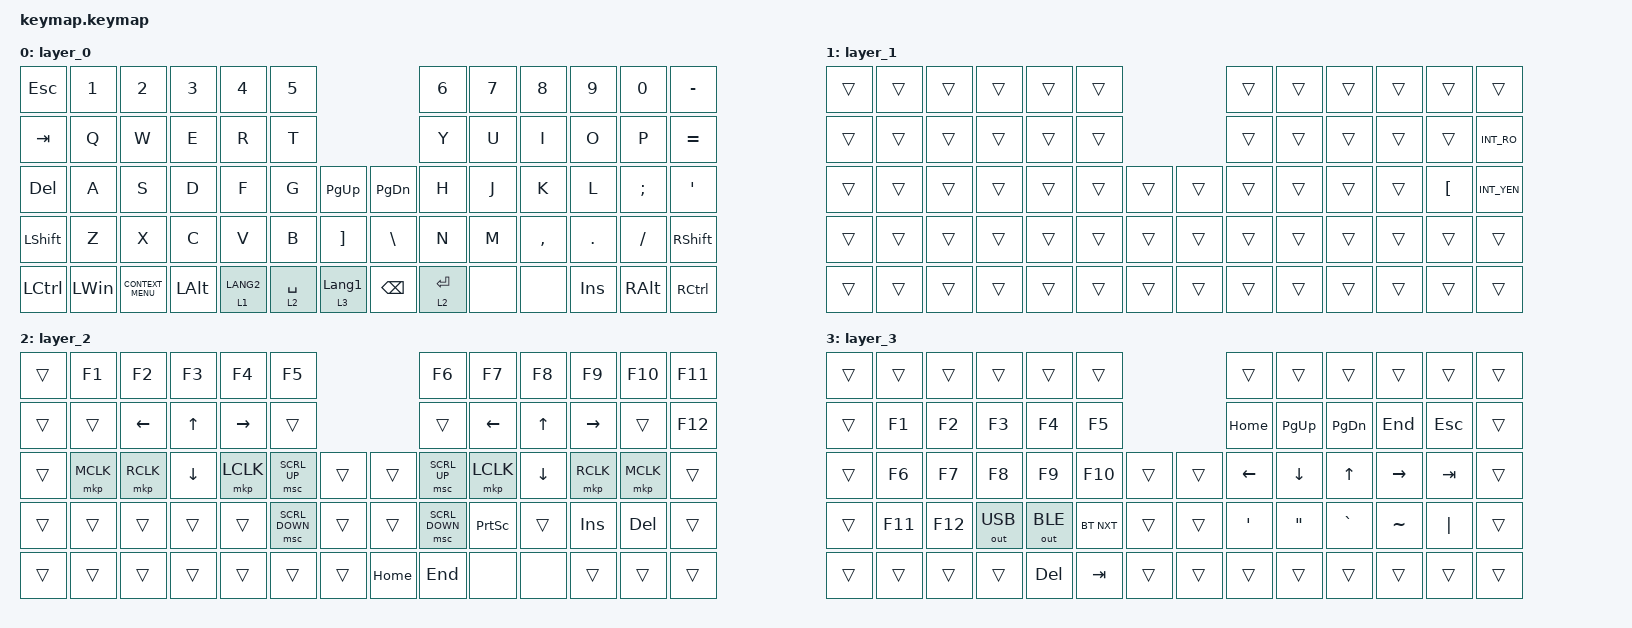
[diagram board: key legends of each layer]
#include <behaviors.dtsi>
#include <dt-bindings/zmk/bt.h>
#include <dt-bindings/zmk/keys.h>
#include <dt-bindings/zmk/outputs.h>

#define ZMK_POINTING_DEFAULT_SCRL_VAL 25
#include <dt-bindings/zmk/pointing.h>

/ {
    combos {
        compatible = "zmk,combos";

        bt_clear {
            bindings = <&bt BT_CLR>;
            key-positions = <28 29>;
            layers = <2>;
        };

        // 片手マウスクリック（標準レイヤーでのみ有効）
        // 通常入力での誤爆を防ぐため、判定時間を短くし直前のキー入力から一定時間空いた場合のみ発動
        // 右手: J=33, K=34, L=35
        mouse_lclk_right {
            bindings = <&mkp LCLK>;
            key-positions = <33 34>;
            timeout-ms = <40>;
            require-prior-idle-ms = <150>;
            layers = <0>;
        };

        mouse_mclk_right {
            bindings = <&mkp MCLK>;
            key-positions = <33 35>;
            timeout-ms = <40>;
            require-prior-idle-ms = <150>;
            layers = <0>;
        };

        mouse_rclk_right {
            bindings = <&mkp RCLK>;
            key-positions = <34 35>;
            timeout-ms = <40>;
            require-prior-idle-ms = <150>;
            layers = <0>;
        };

        // 左手: S=26, D=27, F=28
        mouse_lclk_left {
            bindings = <&mkp LCLK>;
            key-positions = <27 28>;
            timeout-ms = <40>;
            require-prior-idle-ms = <150>;
            layers = <0>;
        };

        mouse_mclk_left {
            bindings = <&mkp MCLK>;
            key-positions = <26 28>;
            timeout-ms = <40>;
            require-prior-idle-ms = <150>;
            layers = <0>;
        };

        mouse_rclk_left {
            bindings = <&mkp RCLK>;
            key-positions = <26 27>;
            timeout-ms = <40>;
            require-prior-idle-ms = <150>;
            layers = <0>;
        };
    };

    keymap {
        compatible = "zmk,keymap";

        layer_0 {
            bindings = <
&kp ESC     &kp N1        &kp N2              &kp N3    &kp N4       &kp N5                                         &kp N6       &kp N7  &kp N8     &kp N9   &kp N0         &kp MINUS
&kp TAB     &kp Q         &kp W               &kp E     &kp R        &kp T                                          &kp Y        &kp U   &kp I      &kp O    &kp P          &kp EQUAL
&kp DELETE  &kp A         &kp S               &kp D     &kp F        &kp G        &kp PAGE_UP        &kp PAGE_DOWN  &kp H        &kp J   &kp K      &kp L    &kp SEMI       &kp SQT
&kp LSHFT   &kp Z         &kp X               &kp C     &kp V        &kp B        &kp RIGHT_BRACKET  &kp BACKSLASH  &kp N        &kp M   &kp COMMA  &kp DOT  &kp SLASH      &kp RSHFT
&kp LCTRL   &kp LEFT_WIN  &kp K_CONTEXT_MENU  &kp LALT  &lt 1 LANG2  &lt 2 SPACE  &lt 3 LANGUAGE_1   &kp BACKSPACE  &lt 2 ENTER  &none   &none      &kp INS  &kp RIGHT_ALT  &kp RCTRL
            >;
        };

        layer_1 {
            bindings = <
&trans  &trans  &trans  &trans  &trans  &trans                  &trans  &trans  &trans  &trans  &trans            &trans
&trans  &trans  &trans  &trans  &trans  &trans                  &trans  &trans  &trans  &trans  &trans            &kp INT_RO
&trans  &trans  &trans  &trans  &trans  &trans  &trans  &trans  &trans  &trans  &trans  &trans  &kp LEFT_BRACKET  &kp INT_YEN
&trans  &trans  &trans  &trans  &trans  &trans  &trans  &trans  &trans  &trans  &trans  &trans  &trans            &trans
&trans  &trans  &trans  &trans  &trans  &trans  &trans  &trans  &trans  &trans  &trans  &trans  &trans            &trans
            >;
        };

        layer_2 {
            bindings = <
&trans  &kp F1     &kp F2          &kp F3          &kp F4           &kp F5          &kp F6         &kp F7           &kp F8          &kp F9           &kp F10    &kp F11
&trans  &trans     &kp LEFT_ARROW  &kp UP_ARROW    &kp RIGHT_ARROW  &trans          &trans         &kp LEFT_ARROW   &kp UP_ARROW    &kp RIGHT_ARROW  &trans     &kp F12
&trans  &mkp MCLK  &mkp RCLK       &kp DOWN_ARROW  &mkp LCLK        &msc SCRL_UP    &trans         &trans    &msc SCRL_UP    &mkp LCLK        &kp DOWN_ARROW  &mkp RCLK        &mkp MCLK  &trans
&trans  &trans     &trans          &trans          &trans           &msc SCRL_DOWN  &trans         &trans    &msc SCRL_DOWN  &kp PRINTSCREEN  &trans          &kp INSERT       &kp DEL    &trans
&trans  &trans     &trans          &trans          &trans           &trans          &trans         &kp HOME  &kp END        &none            &none           &trans           &trans     &trans
            >;
        };

        layer_3 {
            bindings = <
&trans  &trans   &trans   &trans        &trans        &trans                      &trans            &trans     &trans         &trans     &trans      &trans
&trans  &kp F1   &kp F2   &kp F3        &kp F4        &kp F5                      &kp HOME          &kp PG_UP  &kp PAGE_DOWN  &kp END    &kp ESCAPE  &trans
&trans  &kp F6   &kp F7   &kp F8        &kp F9        &kp F10     &trans  &trans  &kp LEFT          &kp DOWN   &kp UP_ARROW   &kp RIGHT  &kp TAB     &trans
&trans  &kp F11  &kp F12  &out OUT_USB  &out OUT_BLE  &bt BT_NXT  &trans  &trans  &kp SINGLE_QUOTE  &kp DQT    &kp GRAVE      &kp TILDE  &kp PIPE    &trans
&trans  &trans   &trans   &trans        &kp DELETE    &kp TAB     &trans  &trans  &trans            &trans     &trans         &trans     &trans      &trans
            >;
        };
    };
};
